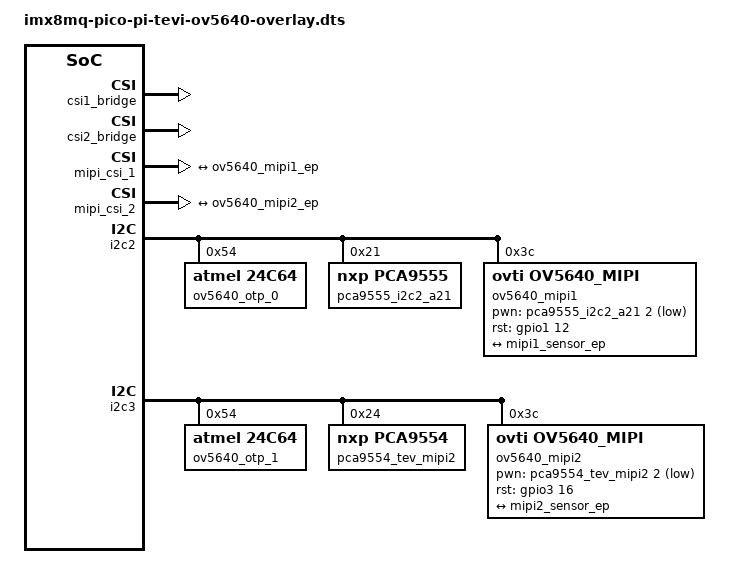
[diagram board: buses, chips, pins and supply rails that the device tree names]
/dts-v1/;
/plugin/;

#include "../imx8mq-pinfunc.h"
#include <dt-bindings/clock/imx8mq-clock.h>
#include <dt-bindings/interrupt-controller/irq.h>
#include <dt-bindings/input/input.h>
#include <dt-bindings/gpio/gpio.h>

/ {

	fragment@0 {
		target = <&csi1_bridge>;
		__overlay__ {
			status = "okay";
		};
	};

	fragment@1 {
		target = <&csi2_bridge>;
		__overlay__ {
			status = "okay";
		};
	};

	fragment@2 {
		target = <&mipi_csi_1>;
		__overlay__ {
			status = "okay";
			#address-cells = <1>;
			#size-cells = <0>;

			port {
				mipi1_sensor_ep: endpoint@0 {
					remote-endpoint = <&ov5640_mipi1_ep>;
					data-lanes = <2>;
					csis-hs-settle = <13>;
					csis-clk-settle = <2>;
					csis-wclk;
				};
			};
		};
	};

	fragment@3 {
		target = <&mipi_csi_2>;
		__overlay__ {
			status = "okay";
			#address-cells = <1>;
			#size-cells = <0>;

			port {
				mipi2_sensor_ep: endpoint@0 {
					remote-endpoint = <&ov5640_mipi2_ep>;
					data-lanes = <2>;
					csis-hs-settle = <13>;
					csis-clk-settle = <2>;
					csis-wclk;
				};
			};
		};
	};

	fragment@4 {
		target = <&i2c2>;
		__overlay__ {
			#address-cells = <1>;
			#size-cells = <0>;
			status = "okay";

			ov5640_otp_0: eeprom@54 {
				compatible = "atmel,24c64";
				reg = <0x54>;
				//read-only;
				status = "okay";
			};

			pca9555_i2c2_a21: pca9555@21 {
				compatible = "nxp,pca9555";
				reg = <0x21>;
				gpio-controller;
				#gpio-cells = <2>;
				status = "okay";
				gpio-line-names = "EXPOSURE_TRIG_IN1", "FLASH_OUT1", "INFO_TRIG_IN1", "CAM_SHUTTER1", "XVS1", "PWR1_TIME0", "PWR1_TIME1", "PWR1_TIME2",
									"EXPOSURE_TRIG_IN2", "FLASH_OUT2", "INFO_TRIG_IN2", "CAM_SHUTTER2", "XVS2", "PWR2_TIME0", "PWR2_TIME1", "PWR2_TIME2";
			};

			ov5640_mipi1: ov5640_mipi@3c {
				compatible = "ovti,ov5640_mipi";
				reg = <0x3c>;
				status = "okay";
				pinctrl-names = "default";
				pinctrl-0 = <&pinctrl_csi1>;
				clocks = <&clk IMX8MQ_CLK_CLKO2>;
				clock-names = "csi_mclk";
				assigned-clocks = <&clk IMX8MQ_CLK_CLKO2>;
				assigned-clock-parents = <&clk IMX8MQ_SYS2_PLL_200M>;
				assigned-clock-rates = <20000000>;
				csi_id = <0>;
				pwn-gpios = <&pca9555_i2c2_a21 2 GPIO_ACTIVE_LOW>;
				rst-gpios = <&gpio1 12 GPIO_ACTIVE_HIGH>;
				mclk = <20000000>;
				mclk_source = <0>;
				port {
					ov5640_mipi1_ep: endpoint {
						remote-endpoint = <&mipi1_sensor_ep>;
					};
				};
			};
		};
	};

	fragment@5 {
		target = <&i2c3>;
		__overlay__ {
			#address-cells = <1>;
			#size-cells = <0>;
			status = "okay";

			ov5640_otp_1: eeprom@54 {
				compatible = "atmel,24c64";
				reg = <0x54>;
				//read-only;
				status = "okay";
			};

			/* PCA9554 on camera tev_mipi board */
			pca9554_tev_mipi2: pca9554_tev_mipi@24 {
				compatible = "nxp,pca9554";
				reg =<0x24>;
				gpio-controller;
				#gpio-cells = <2>;
			};

			ov5640_mipi2: ov5640_mipi2@3c {
				compatible = "ovti,ov5640_mipi";
				reg = <0x3c>;
				status = "okay";
				pinctrl-names = "default";
				pinctrl-0 = <&pinctrl_csi2>;
				clocks = <&clk IMX8MQ_CLK_CLKO2>;
				clock-names = "csi_mclk";
				assigned-clocks = <&clk IMX8MQ_CLK_CLKO2>;
				assigned-clock-parents = <&clk IMX8MQ_SYS2_PLL_200M>;
				assigned-clock-rates = <20000000>;
				csi_id = <1>;
				pwn-gpios = <&pca9554_tev_mipi2 2 GPIO_ACTIVE_LOW>;
				rst-gpios = <&gpio3 16 GPIO_ACTIVE_HIGH>;
				mclk = <20000000>;
				mclk_source = <0>;
				port {
					ov5640_mipi2_ep: endpoint {
						remote-endpoint = <&mipi2_sensor_ep>;
					};
				};
			};
		};
	};
};
